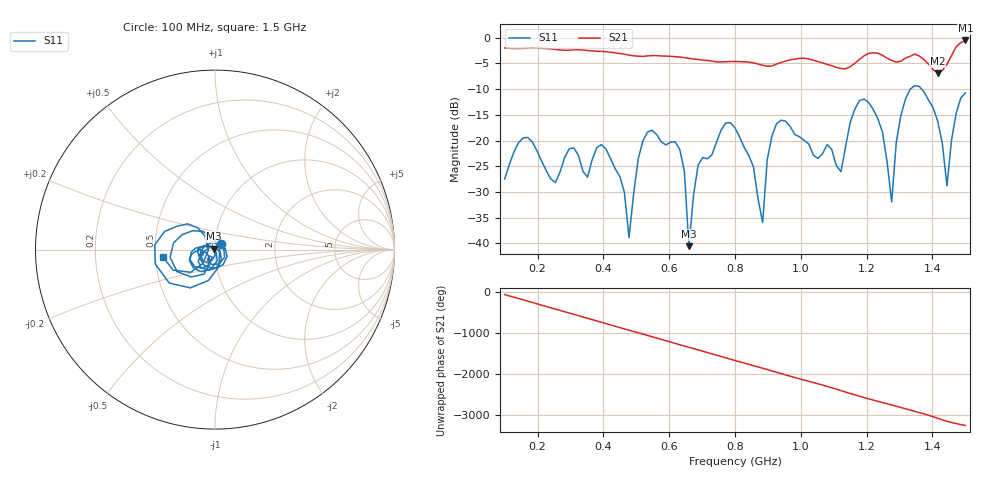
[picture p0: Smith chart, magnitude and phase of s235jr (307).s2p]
! NanoVNA-App
! Date: 2025-09-25 15:06:33
! Start: 100MHz Stop: 1,5GHz Points: 101
! S-Parameter data: F S11 S21 S12 S22
# Hz S RI R 50
!  Frequency  S11_Real  S11_Imag  S21_Real  S21_Imag  S12_Real  S12_Imag  S22_Real  S22_Imag
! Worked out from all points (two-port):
!   101 points, 100 MHz to 1.5 GHz, reference 50 ohm
!   highest |S21| = -0.52 dB at 1.5 GHz (marker M1); lowest = -6.9 dB at 1.416 GHz (marker M2)
!   |S21| within 3 dB of the highest: start of sweep to 494.7 MHz; 1.192 GHz to 1.251 GHz (58.8 MHz wide, 4.81 % of centre) (the widest 2 of 5)
!   lowest |S11| = -40.5 dB at 660 MHz (marker M3), VSWR 1.02, Z = 49.3 + j0.584 ohm
!   |S11| at or under -10 dB: start of sweep to 1.332 GHz; 1.367 GHz to end of sweep
!   S12 and S22 are empty: the file has one direction only
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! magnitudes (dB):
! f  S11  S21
! 100 MHz  -27.5  -2.0
! 170 MHz  -19.4  -2.0
! 338 MHz  -26.0  -2.4
! 408 MHz  -21.6  -2.7
! 478 MHz  -38.9  -3.4
! 520 MHz  -20.1  -3.6
! 576 MHz  -20.2  -3.5
! 632 MHz  -21.7  -3.7
! 660 MHz  -40.5  -4.0
! 688 MHz  -24.8  -4.2
! 800 MHz  -17.5  -4.6
! 884 MHz  -35.9  -5.3
! 926 MHz  -16.7  -5.1
! 1.038 GHz  -22.8  -4.4
! 1.122 GHz  -26.0  -6.0
! 1.192 GHz  -11.9  -3.5
! 1.248 GHz  -18.3  -3.4
! 1.276 GHz  -31.9  -4.4
! 1.332 GHz  -10.0  -3.6
! 1.416 GHz  -16.2  -6.9
! 1.444 GHz  -28.8  -5.1
! 1.5 GHz  -10.7  -0.5
